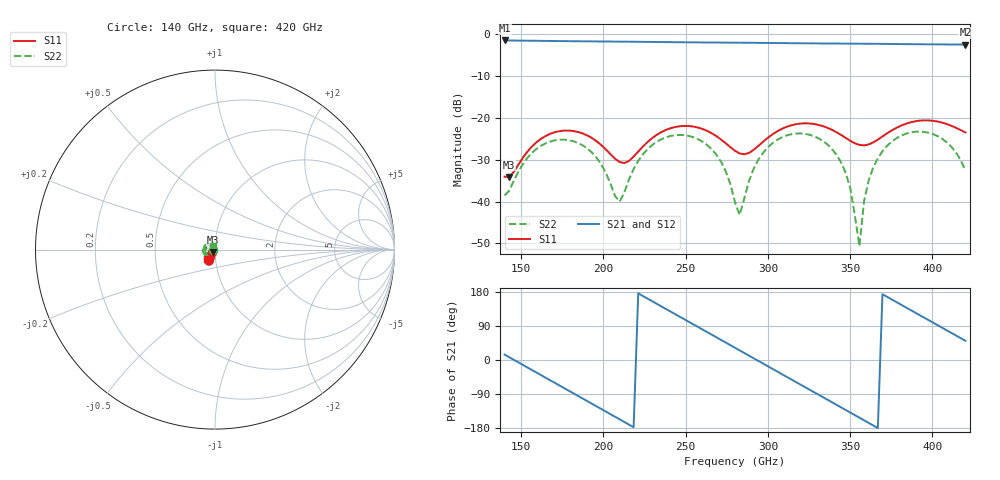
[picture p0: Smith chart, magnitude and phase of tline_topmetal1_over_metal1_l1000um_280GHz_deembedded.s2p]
! Created with skrf 2.0.1 (http://scikit-rf.org).
# GHz S DB R 50.0
!freq dBS11 angS11 dBS21 angS21 dBS12 angS12 dBS22 angS22
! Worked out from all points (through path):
!   101 points, 140 GHz to 420 GHz, reference 50 ohm
!   highest |S21| = -1.54 dB at 140 GHz (marker M1); lowest = -2.5 dB at 420 GHz (marker M2)
!   group delay of S21, straight-line fit = 6.78 ps
!   lowest |S11| = -34.1 dB at 142.8 GHz (marker M3), VSWR 1.04, Z = 48.9 - j1.57 ohm
!   |S11| at or under -10 dB: start of sweep to end of sweep
!   |S22| runs from -50.7 to -23.3 dB; largest |S21 - S12| = 1.5e-13
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140  -34.07 -142.9  -1.54 14.3  -1.54 14.3  -38.57 -159.2
142.8  -34.15 -124.9  -1.56 7.4  -1.56 7.4  -37.40 -136.2
162.4  -24.95 -105.5  -1.64 -40.6  -1.64 -40.6  -26.62 -136.6
187.6  -23.77 -143.6  -1.75 -102.1  -1.75 -102.1  -26.62 171.3
210  -30.61 -135.4  -1.82 -156.8  -1.82 -156.8  -39.97 -156.6
221.2  -28.07 -101.1  -1.86 175.8  -1.86 175.8  -30.30 -119.3
235.2  -23.43 -105.7  -1.92 141.6  -1.92 141.6  -25.13 -143.6
249.2  -21.95 -124.3  -1.98 107.4  -1.98 107.4  -24.15 -174.2
263.2  -23.15 -141.9  -2.03 73.3  -2.03 73.3  -26.55 155.4
274.4  -26.11 -145.9  -2.06 46.0  -2.06 46.0  -32.80 137.8
280  -27.89 -138.4  -2.07 32.3  -2.07 32.3  -40.14 151.3
282.8  -28.52 -131.3  -2.08 25.5  -2.08 25.5  -43.20 -164.6
291.2  -27.70 -107.2  -2.11 4.9  -2.11 4.9  -32.29 -116.7
302.4  -24.06 -100.1  -2.15 -22.5  -2.15 -22.5  -26.18 -135.3
327.6  -21.46 -126.3  -2.24 -83.9  -2.24 -83.9  -24.34 166.9
347.2  -24.79 -136.6  -2.29 -131.7  -2.29 -131.7  -33.07 123.4
355.6  -26.48 -124.6  -2.32 -152.2  -2.32 -152.2  -50.65 -139.7
358.4  -26.59 -118.3  -2.32 -159.0  -2.32 -159.0  -39.99 -104.5
361.2  -26.37 -112.0  -2.33 -165.9  -2.33 -165.9  -34.97 -105.2
375.2  -23.04 -100.1  -2.38 159.9  -2.38 159.9  -25.70 -134.7
397.6  -20.63 -119.1  -2.47 105.3  -2.47 105.3  -23.58 170.5
420  -23.51 -130.2  -2.52 50.7  -2.52 50.7  -32.61 111.5
